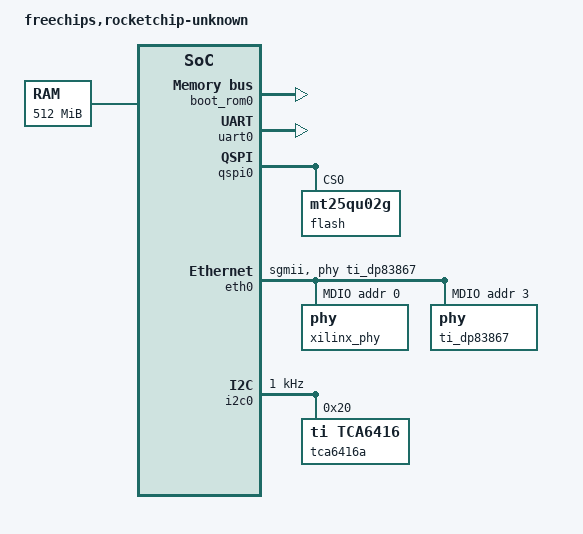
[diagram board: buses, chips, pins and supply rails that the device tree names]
/dts-v1/;

#include <dt-bindings/gpio/gpio.h>

/ {
	#address-cells = <1>;
	#size-cells = <1>;
	compatible = "freechips,rocketchip-unknown-dev";
	model = "freechips,rocketchip-unknown";

	chosen {
		bootargs = "console=ttyS0,115200 earlyprintk";
		stdout-path = "serial0:115200n8";
	};

	aliases {
		serial0 = &uart0;
		spi0 = &qspi0;
		eth0 = &eth0;
		i2c0 = &i2c0;
	};

	cpus {
		#address-cells = <1>;
		#size-cells = <0>;
	};
	ram0: memory@80000000 {
		device_type = "memory";
		reg = <0x80000000 0x20000000>;
	};
	soc {
		#address-cells = <1>;
		#size-cells = <1>;
		compatible = "freechips,rocketchip-unknown-soc", "simple-bus";
		ranges;
		clint0: clint@2000000 {
			compatible = "riscv,clint0";
			reg = <0x2000000 0x10000>;
			reg-names = "control";
		};
		error0: error-device@3000 {
			compatible = "sifive,error0";
			reg = <0x3000 0x1000>;
		};
		ext_int0: external-interrupts {
			interrupt-parent = <&plic0>;
			interrupts = <1 2 3 4 5 6>;
		};
		plic0: interrupt-controller@c000000 {
			#interrupt-cells = <1>;
			compatible = "riscv,plic0";
			interrupt-controller;
			reg = <0xc000000 0x4000000>;
			reg-names = "control";
			riscv,max-priority = <7>;
			riscv,ndev = <6>;
		};
		mmio0: mmio-port-axi4@60000000 {
			#address-cells = <1>;
			#size-cells = <1>;
			compatible = "simple-bus";
			ranges = <0x60000000 0x60000000 0x20000000>;
		};
		boot_rom0: rom@10000 {
			compatible = "sifive,rom0";
			reg = <0x10000 0x10000>;
			reg-names = "mem";
		};
		pbus0: subsystem_pbus_clock {
			#clock-cells = <0>;
			clock-frequency = <100000000>;
			clock-output-names = "subsystem_pbus_clock";
			compatible = "fixed-clock";
		};
		uart0: serial@60200000 {
			compatible = "ns16550a";
			reg = <0x60200000 0x1000>;
			reg-shift = <2>;
			reg-offset = <0x1000>;
			clock-frequency = <100000000>;
			interrupts-extended = <&plic0 0>;
		};
		qspi0: qspi@60100000 {
			compatible = "xlnx,xps-spi-2.00.a";
			reg = <0x60100000 0x1000>;
			fifo-size = <256>;
			#address-cells = <1>;
			#size-cells = <0>;
			interrupts-extended = <&plic0 1>;

			flash@0 {
				compatible = "mt25qu02g", "jedec,spi-nor";
				reg = <0>;
			};
		};
		eth_dma0: eth_dma@60300000 {
			reg = <0x60300000 0x10000>;
		};
		eth0: eth0@60400000 {
			compatible = "xlnx,axi-ethernet-1.00.a";
			reg = <0x60400000 0x10000>;
			mac-address = [00 11 22 33 44 55];
			device_type = "network";
			axistream-connected = <&eth_dma0>;
			phy-handle = <&ti_dp83867>;
			phy-mode = "sgmii";

			mdio: mdio {
				#address-cells = <1>;
				#size-cells = <0>;
				reset-gpios = <&tca6416a 6 GPIO_ACTIVE_LOW>;
				reset-delay-us = <2>;

				xilinx_phy: phy@0 {
					#phy-cells = <1>;
					device_type = "ethernet-phy";
					reg = <0>;
				};

				ti_dp83867: phy@3 {
					#phy-cells = <1>;
					device_type = "ethernet-phy";
					reg = <3>;
					ti,sgmii-ref-clock-output-enable;
					ti,dp83867-rxctrl-strap-quirk;
				};
			};
		};
		i2c0: i2c@60500000 {
			compatible = "xlnx,xps-iic-2.00.a";
			reg = <0x60500000 0x10000>;
			#size-cells = <0>;
			#address-cells = <1>;
			clock-frequency = <1000>;

			tca6416a: gpio@20 {
				compatible = "ti,tca6416";
				reg = <0x20>;
				#gpio-cells = <2>;
				gpio-controller;
			};
		};
	};
};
